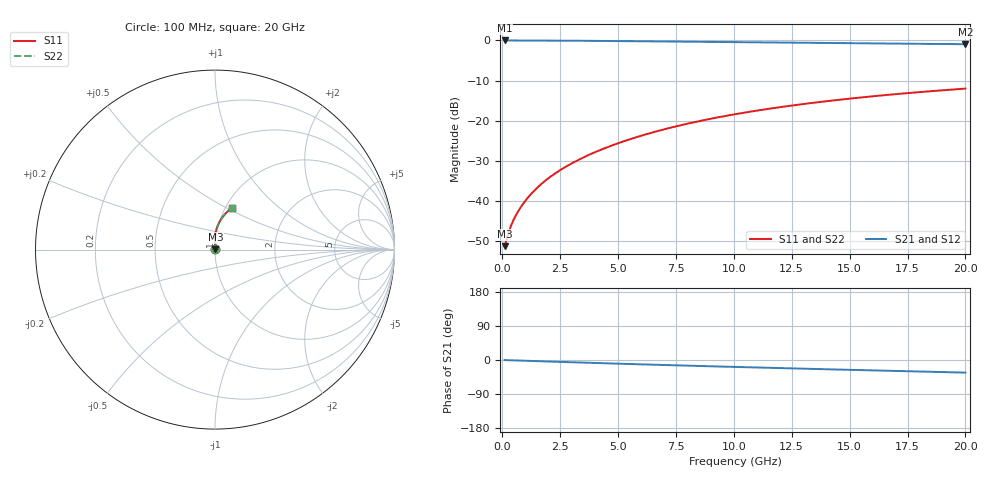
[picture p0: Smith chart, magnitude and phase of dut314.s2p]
! Touchstone file exported from HFSS 2024.1.0
!  File:  C:/UserFiles/LocalFiles/RDL_TSV_Batchsim/temp_RDL_top_314_1779606708.aedt
!  Generated:  03:14:06 PM May 24, 2026
!  Design:  RDL_top
!  Project:  temp_RDL_top_314_1779606708
!  Setup:  Setup1
!  Solution:  Sweep
! Variables:
!  dtsv = 10.80580581um
!  hbump = 3um
!  htsv = 89.44um
!  ldown = 100um
!  lrdl = 505.24um
!  p = 40
!  p1 = 44.88um
!  rhole = 1um
!  t = 450um
!  tdown = 3.915915916um
!  trdl = 3.03um
!  wdown = 15.38538539um
!  wrdl = 26.8um
# GHz S MA R 50.000000
! Terminal data exported
! Port[1] = Box2_T1
! Port[2] = Box2_T2
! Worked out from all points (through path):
!   200 points, 100 MHz to 20 GHz, reference 50 ohm
!   highest |S21| = -0.02 dB at 100 MHz (marker M1); lowest = -1.0 dB at 20 GHz (marker M2)
!   group delay of S21, straight-line fit = 4.56 ps
!   lowest |S11| = -51.2 dB at 100 MHz (marker M3), VSWR 1.01, Z = 50.2 + j0.119 ohm
!   |S11| at or under -10 dB: start of sweep to end of sweep
!   |S22| runs from -51.2 to -12.0 dB; largest |S21 - S12| = 2.7e-15
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0.1  0.002752 25.5  0.9975 -0.2  0.9975 -0.2  0.002752 25.5
! Gamma 0 0 0 0
! Port Impedance 50 0 50 0
0.3  0.004315 49.6  0.9971 -0.6  0.9971 -0.6  0.004315 49.6
0.4  0.005141 55.3  0.9969 -0.8  0.9969 -0.8  0.005141 55.3
0.5  0.005957 59.6  0.9967 -1.0  0.9967 -1.0  0.005957 59.6
0.6  0.006773 63.1  0.9965 -1.2  0.9965 -1.2  0.006773 63.1
0.8  0.008431 68.5  0.9962 -1.6  0.9962 -1.6  0.008431 68.5
1  0.01014 72.5  0.9959 -2.0  0.9959 -2.0  0.01014 72.5
1.2  0.0119 75.5  0.9955 -2.4  0.9955 -2.4  0.0119 75.5
1.7  0.01648 80.8  0.9943 -3.4  0.9943 -3.4  0.01648 80.8
2.2  0.0213 84.0  0.9929 -4.4  0.9929 -4.4  0.0213 84.0
2.8  0.0274 86.6  0.9908 -5.6  0.9908 -5.6  0.0274 86.6
3.5  0.03493 88.5  0.9878 -6.9  0.9878 -6.9  0.03492 88.5
4.2  0.04289 89.6  0.9845 -8.2  0.9845 -8.2  0.04289 89.5
5  0.0525 90.1  0.9803 -9.7  0.9803 -9.7  0.05249 90.1
5.9  0.06385 90.0  0.9752 -11.3  0.9752 -11.3  0.06384 90.0
6.8  0.07568 89.5  0.9699 -12.9  0.9699 -12.9  0.07567 89.4
8.4  0.09749 87.7  0.9602 -15.6  0.9602 -15.6  0.09747 87.7
10.1  0.1212 85.1  0.9501 -18.4  0.9501 -18.4  0.1212 85.1
11.7  0.1435 82.4  0.9407 -20.9  0.9407 -20.9  0.1435 82.4
13.4  0.1669 79.4  0.9311 -23.5  0.9311 -23.5  0.1669 79.4
16.7  0.2106 73.6  0.913 -28.5  0.913 -28.5  0.2105 73.6
20  0.2512 67.9  0.8954 -33.3  0.8954 -33.3  0.2511 67.9
